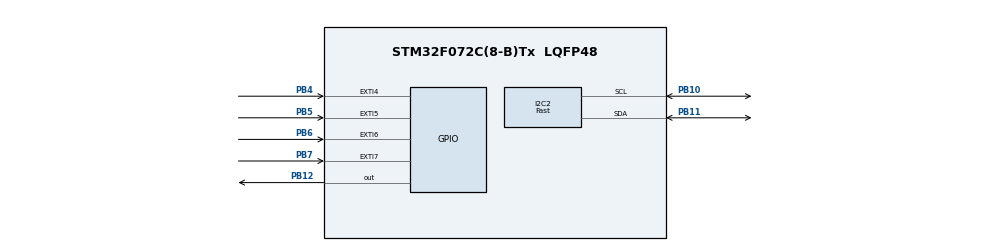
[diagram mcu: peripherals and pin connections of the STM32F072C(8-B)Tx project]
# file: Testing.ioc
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Dma.I2C2_TX.0.Direction=DMA_MEMORY_TO_PERIPH
Dma.I2C2_TX.0.Instance=DMA1_Channel4
Dma.I2C2_TX.0.MemDataAlignment=DMA_MDATAALIGN_BYTE
Dma.I2C2_TX.0.MemInc=DMA_MINC_ENABLE
Dma.I2C2_TX.0.Mode=DMA_NORMAL
Dma.I2C2_TX.0.PeriphDataAlignment=DMA_PDATAALIGN_BYTE
Dma.I2C2_TX.0.PeriphInc=DMA_PINC_DISABLE
Dma.I2C2_TX.0.Priority=DMA_PRIORITY_LOW
Dma.Request0=I2C2_TX
I2C2.I2C_Speed_Mode=I2C_Fast
I2C2.Timing=0x0000020B
Mcu.Family=STM32F0
Mcu.Name=STM32F072C(8-B)Tx
Mcu.Package=LQFP48
NVIC.DMA1_Channel4_5_6_7_IRQn=true\:0\:0\:false\:false\:true\:false\:true\:true
NVIC.EXTI4_15_IRQn=true\:0\:0\:false\:false\:true\:true\:true\:true
NVIC.I2C2_IRQn=true\:0\:0\:false\:false\:true\:true\:true\:true
PB10.Mode=I2C
PB10.Signal=I2C2_SCL
PB11.Mode=I2C
PB11.Signal=I2C2_SDA
PB12.Signal=GPIO_Output
PB4.GPIO_ModeDefaultEXTI=GPIO_MODE_IT_FALLING
PB4.GPIO_PuPd=GPIO_PULLUP
PB4.Signal=GPXTI4
PB5.GPIO_ModeDefaultEXTI=GPIO_MODE_IT_FALLING
PB5.GPIO_PuPd=GPIO_PULLUP
PB5.Signal=GPXTI5
PB6.GPIO_ModeDefaultEXTI=GPIO_MODE_IT_FALLING
PB6.GPIO_PuPd=GPIO_PULLUP
PB6.Signal=GPXTI6
PB7.GPIO_ModeDefaultEXTI=GPIO_MODE_IT_FALLING
PB7.GPIO_PuPd=GPIO_PULLUP
PB7.Signal=GPXTI7
PF0-OSC_IN.Mode=HSE-External-Clock-Source
PF0-OSC_IN.Signal=RCC_OSC_IN
ProjectManager.HeapSize=0x200
ProjectManager.StackSize=0x400
ProjectManager.TargetToolchain=EWARM V8.32
board=custom

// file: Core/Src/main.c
/* USER CODE BEGIN Header */
/**
  ******************************************************************************
  * @file           : main.c
  * @brief          : Main program body
  ******************************************************************************
  * @attention
  *
  * Copyright (c) 2025 STMicroelectronics.
  * All rights reserved.
  *
  * This software is licensed under terms that can be found in the LICENSE file
  * in the root directory of this software component.
  * If no LICENSE file comes with this software, it is provided AS-IS.
  *
  ******************************************************************************
  */
/* USER CODE END Header */
#include "main.h"
#include "dma.h"
#include "i2c.h"
#include "gpio.h"

/* USER CODE BEGIN Includes */
#include "MyModbusRtu.h"
#include "MyGPIO.h"
#include "MyUSART.h"
#include "UserProgram.h"
#include "MySH1106.h"
/* USER CODE END Includes */

/* USER CODE BEGIN PV */
int timer = 0;
int flag = 0;

extern int flag;

/* USER CODE END PV */

void SystemClock_Config(void);

int main(void)
{

  /* MCU Configuration--------------------------------------------------------*/

  /* Reset of all peripherals, Initializes the Flash interface and the Systick. */
  HAL_Init();

  /* Configure the system clock */
  SystemClock_Config();

  /* Initialize all configured peripherals */
  MX_GPIO_Init();
  MX_DMA_Init();
  MX_I2C2_Init();
  /* USER CODE BEGIN 2 */

  //----------------------------------------------------------------------------
  // config USART:
  InitMyModbusRtu();

  InitMyUSART();

  InitLEDS();

  GPIOA->ODR |= (1 << 5);

  HAL_GPIO_WritePin(GPIOB, GPIO_PIN_12, GPIO_PIN_RESET);

  SH1106_Init();

  current_screen = &Welcome_Screen;

  current_screen->Render_Screen_on_Frame_Buffer();

  SH1106_Start_Update();

  /* USER CODE END 2 */

  /* Infinite loop */
  while (1)
  {

    /* USER CODE BEGIN 3 */

    SH1106_I2C_Update_Frame_loop();

    Switch_Screens_Loop();

    UserMainLoop();
  }
  /* USER CODE END 3 */
}

void SystemClock_Config(void)
{
  RCC_OscInitTypeDef RCC_OscInitStruct = {0};
  RCC_ClkInitTypeDef RCC_ClkInitStruct = {0};

  /** Initializes the RCC Oscillators according to the specified parameters
  * in the RCC_OscInitTypeDef structure.
  */
  RCC_OscInitStruct.OscillatorType = RCC_OSCILLATORTYPE_HSI;
  RCC_OscInitStruct.HSIState = RCC_HSI_ON;
  RCC_OscInitStruct.HSICalibrationValue = RCC_HSICALIBRATION_DEFAULT;
  RCC_OscInitStruct.PLL.PLLState = RCC_PLL_NONE;
  if (HAL_RCC_OscConfig(&RCC_OscInitStruct) != HAL_OK)
  {
    Error_Handler();
  }

  /** Initializes the CPU, AHB and APB buses clocks
  */
  RCC_ClkInitStruct.ClockType = RCC_CLOCKTYPE_HCLK|RCC_CLOCKTYPE_SYSCLK
                              |RCC_CLOCKTYPE_PCLK1;
  RCC_ClkInitStruct.SYSCLKSource = RCC_SYSCLKSOURCE_HSI;
  RCC_ClkInitStruct.AHBCLKDivider = RCC_SYSCLK_DIV1;
  RCC_ClkInitStruct.APB1CLKDivider = RCC_HCLK_DIV1;

  if (HAL_RCC_ClockConfig(&RCC_ClkInitStruct, FLASH_LATENCY_0) != HAL_OK)
  {
    Error_Handler();
  }
}

void Error_Handler(void)
{
  __disable_irq();
  while (1)
  {
  }
}
